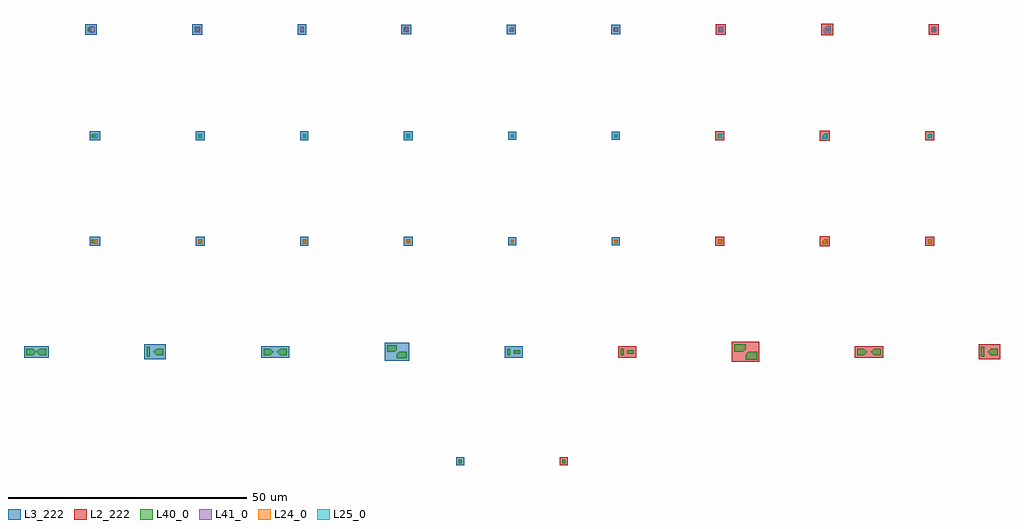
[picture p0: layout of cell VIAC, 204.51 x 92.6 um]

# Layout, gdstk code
from math import pi, radians
import gdstk
lib = gdstk.Library(unit=1e-6, precision=1e-09)
def R(c, l, rs):  # rectangles x0, y0, x1, y1
    for r in rs: c.add(gdstk.rectangle(r[:2], r[2:], *l))
def P(c, l, *ps):  # polygons
    for p in ps: c.add(gdstk.Polygon(p, *l))
L2_222 = (2, 222)
L3_222 = (3, 222)
L24_0 = (24, 0)
L25_0 = (25, 0)
L40_0 = (40, 0)
L41_0 = (41, 0)

compass_layerviac_size0p = lib.new_cell('compass_layerVIAC_size0p7__0p7')
R(compass_layerviac_size0p, L40_0, [(-0.35,-0.35,0.35,0.35)])

rectangle_layerviac_size = lib.new_cell('rectangle_layerVIAC_size0p7__0p7')
rectangle_layerviac_size.add(gdstk.Reference(compass_layerviac_size0p, (0.35,0.35)))

compass_b2efa8bb = lib.new_cell('compass_b2efa8bb')
R(compass_b2efa8bb, L2_222, [(-0.85,-0.85,0.85,0.85)])

rectangle_b2efa8bb = lib.new_cell('rectangle_b2efa8bb')
rectangle_b2efa8bb.add(gdstk.Reference(compass_b2efa8bb, (0.85,0.85)))

pass_fail_mk_ea92c8a5 = lib.new_cell('pass_fail_mk_ea92c8a5')
pass_fail_mk_ea92c8a5.add(gdstk.Reference(rectangle_b2efa8bb, (-0.5,-0.5)))
pass_fail_mk_ea92c8a5.add(gdstk.Label('VIAC.W.1', (-0.25,-0.25), layer=11, texttype=222))

c_compass_layerviac_size0p = lib.new_cell('compass_layerVIAC_size0p69__0p69')
R(c_compass_layerviac_size0p, L40_0, [(-0.345,-0.345,0.345,0.345)])

c_rectangle_layerviac_size = lib.new_cell('rectangle_layerVIAC_size0p69__0p69')
c_rectangle_layerviac_size.add(gdstk.Reference(c_compass_layerviac_size0p, (0.345,0.345)))

compass_bd24d7c0 = lib.new_cell('compass_bd24d7c0')
R(compass_bd24d7c0, L3_222, [(-0.845,-0.845,0.845,0.845)])

rectangle_bd24d7c0 = lib.new_cell('rectangle_bd24d7c0')
rectangle_bd24d7c0.add(gdstk.Reference(compass_bd24d7c0, (0.845,0.845)))

pass_fail_mk_dc1ab9c7 = lib.new_cell('pass_fail_mk_dc1ab9c7')
pass_fail_mk_dc1ab9c7.add(gdstk.Reference(rectangle_bd24d7c0, (-0.5,-0.5)))
pass_fail_mk_dc1ab9c7.add(gdstk.Label('VIAC.W.1', (-0.25,-0.25), layer=11, texttype=222))

size_patterns_width0_7_l = lib.new_cell('size_patterns_width0.7_layerVIAC')
size_patterns_width0_7_l.add(gdstk.Reference(rectangle_layerviac_size, (0,0)))
size_patterns_width0_7_l.add(gdstk.Reference(pass_fail_mk_ea92c8a5, (0,0)))
size_patterns_width0_7_l.add(gdstk.Reference(c_rectangle_layerviac_size, (-21.69,0.005)))
size_patterns_width0_7_l.add(gdstk.Reference(pass_fail_mk_dc1ab9c7, (-21.69,0.005)))

c_compass_layerviac_size0p_ = lib.new_cell('compass_layerVIAC_size0p7__1p4')
R(c_compass_layerviac_size0p_, L40_0, [(-0.35,-0.7,0.35,0.7)])

c_rectangle_layerviac_size_ = lib.new_cell('rectangle_layerVIAC_size0p7__1p4')
c_rectangle_layerviac_size_.add(gdstk.Reference(c_compass_layerviac_size0p_, (0.35,0.7)))

compass_layerviac_size1p = lib.new_cell('compass_layerVIAC_size1p4__0p7')
R(compass_layerviac_size1p, L40_0, [(-0.7,-0.35,0.7,0.35)])

c_rectangle_layerviac_size__ = lib.new_cell('rectangle_layerVIAC_size1p4__0p7')
c_rectangle_layerviac_size__.add(gdstk.Reference(compass_layerviac_size1p, (0.7,0.35)))

space_basic_spacing0_7_l = lib.new_cell('space_basic_spacing0.7_layer1VIAC_layer2VIAC')
space_basic_spacing0_7_l.add(gdstk.Reference(c_rectangle_layerviac_size_, (-0.7,1.05), rotation=pi))
space_basic_spacing0_7_l.add(gdstk.Reference(c_rectangle_layerviac_size__, (0,0)))

compass_77408f74 = lib.new_cell('compass_77408f74')
R(compass_77408f74, L2_222, [(-1.9,-1.2,1.9,1.2)])

rectangle_77408f74 = lib.new_cell('rectangle_77408f74')
rectangle_77408f74.add(gdstk.Reference(compass_77408f74, (1.9,1.2)))

pass_fail_mk_dd86cd32 = lib.new_cell('pass_fail_mk_dd86cd32')
pass_fail_mk_dd86cd32.add(gdstk.Reference(rectangle_77408f74, (-1.9,-0.85)))
pass_fail_mk_dd86cd32.add(gdstk.Label('VIAC.S.1', (-1.65,-0.6), layer=11, texttype=222))

space_basic_spacing0_69_ = lib.new_cell('space_basic_spacing0.69_layer1VIAC_layer2VIAC')
space_basic_spacing0_69_.add(gdstk.Reference(c_rectangle_layerviac_size_, (-0.69,1.05), rotation=pi))
space_basic_spacing0_69_.add(gdstk.Reference(c_rectangle_layerviac_size__, (0,0)))

compass_235e8b68 = lib.new_cell('compass_235e8b68')
R(compass_235e8b68, L3_222, [(-1.895,-1.2,1.895,1.2)])

rectangle_235e8b68 = lib.new_cell('rectangle_235e8b68')
rectangle_235e8b68.add(gdstk.Reference(compass_235e8b68, (1.895,1.2)))

pass_fail_mk_c59dae41 = lib.new_cell('pass_fail_mk_c59dae41')
pass_fail_mk_c59dae41.add(gdstk.Reference(rectangle_235e8b68, (-1.89,-0.85)))
pass_fail_mk_c59dae41.add(gdstk.Label('VIAC.S.1', (-1.64,-0.6), layer=11, texttype=222))

boolean_4434b073 = lib.new_cell('boolean_4434b073')
P(boolean_4434b073, L40_0, [(2.4,1.6),(0.567,1.6),(0,1.032),(0,0),(2.4,0)])

space_45deg_spacing0_799 = lib.new_cell('space_45deg_spacing0.7999999999999999_layer1VIAC_layer2VIAC')
space_45deg_spacing0_799.add(gdstk.Reference(boolean_4434b073, (0,0)))
space_45deg_spacing0_799.add(gdstk.Reference(boolean_4434b073, (0,3.2), rotation=pi))

compass_ca9d0b4a = lib.new_cell('compass_ca9d0b4a')
R(compass_ca9d0b4a, L2_222, [(-2.9,-2.1,2.9,2.1)])

rectangle_ca9d0b4a = lib.new_cell('rectangle_ca9d0b4a')
rectangle_ca9d0b4a.add(gdstk.Reference(compass_ca9d0b4a, (2.9,2.1)))

pass_fail_mk_bf88f0f7 = lib.new_cell('pass_fail_mk_bf88f0f7')
pass_fail_mk_bf88f0f7.add(gdstk.Reference(rectangle_ca9d0b4a, (-2.9,-0.5)))
pass_fail_mk_bf88f0f7.add(gdstk.Label('VIAC.S.1', (-2.65,-0.25), layer=11, texttype=222))

boolean_fdc49324 = lib.new_cell('boolean_fdc49324')
P(boolean_fdc49324, L40_0, [(2.07,1.38),(0.489,1.38),(0,0.891),(0,0),(2.07,0)])

space_45deg_spacing0_69_ = lib.new_cell('space_45deg_spacing0.69_layer1VIAC_layer2VIAC')
space_45deg_spacing0_69_.add(gdstk.Reference(boolean_fdc49324, (0,0)))
space_45deg_spacing0_69_.add(gdstk.Reference(boolean_fdc49324, (0,2.76), rotation=pi))

compass_da3c626a = lib.new_cell('compass_da3c626a')
R(compass_da3c626a, L3_222, [(-2.57,-1.88,2.57,1.88)])

rectangle_da3c626a = lib.new_cell('rectangle_da3c626a')
rectangle_da3c626a.add(gdstk.Reference(compass_da3c626a, (2.57,1.88)))

pass_fail_mk_96e4fcd8 = lib.new_cell('pass_fail_mk_96e4fcd8')
pass_fail_mk_96e4fcd8.add(gdstk.Reference(rectangle_da3c626a, (-2.57,-0.5)))
pass_fail_mk_96e4fcd8.add(gdstk.Label('VIAC.S.1', (-2.32,-0.25), layer=11, texttype=222))

boolean_fcddbcaa = lib.new_cell('boolean_fcddbcaa')
P(boolean_fcddbcaa, L40_0, [(0,0),(1.4,0),(1.4,1.4),(0,1.4),(-0.7,0.7)])

boolean_cd065b2d = lib.new_cell('boolean_cd065b2d')
P(boolean_cd065b2d, L40_0, [(1.4,1.4),(0,1.4),(-0.7,0.7),(0,0),(1.4,0)])

space_cor2cor_spacing0_7 = lib.new_cell('space_cor2cor_spacing0.7_layer1VIAC_layer2VIAC')
space_cor2cor_spacing0_7.add(gdstk.Reference(boolean_fcddbcaa, (0,0)))
space_cor2cor_spacing0_7.add(gdstk.Reference(boolean_cd065b2d, (-2.1,1.4), rotation=pi))

compass_ff052847 = lib.new_cell('compass_ff052847')
R(compass_ff052847, L2_222, [(-2.95,-1.2,2.95,1.2)])

rectangle_ff052847 = lib.new_cell('rectangle_ff052847')
rectangle_ff052847.add(gdstk.Reference(compass_ff052847, (2.95,1.2)))

pass_fail_mk_ab782b63 = lib.new_cell('pass_fail_mk_ab782b63')
pass_fail_mk_ab782b63.add(gdstk.Reference(rectangle_ff052847, (-4,-0.5)))
pass_fail_mk_ab782b63.add(gdstk.Label('VIAC.S.1', (-3.75,-0.25), layer=11, texttype=222))

space_cor2cor_spacing0_6 = lib.new_cell('space_cor2cor_spacing0.69_layer1VIAC_layer2VIAC')
space_cor2cor_spacing0_6.add(gdstk.Reference(boolean_fcddbcaa, (0,0)))
space_cor2cor_spacing0_6.add(gdstk.Reference(boolean_cd065b2d, (-2.09,1.4), rotation=pi))

compass_60b5a301 = lib.new_cell('compass_60b5a301')
R(compass_60b5a301, L3_222, [(-2.945,-1.2,2.945,1.2)])

rectangle_60b5a301 = lib.new_cell('rectangle_60b5a301')
rectangle_60b5a301.add(gdstk.Reference(compass_60b5a301, (2.945,1.2)))

pass_fail_mk_47525627 = lib.new_cell('pass_fail_mk_47525627')
pass_fail_mk_47525627.add(gdstk.Reference(rectangle_60b5a301, (-3.99,-0.5)))
pass_fail_mk_47525627.add(gdstk.Label('VIAC.S.1', (-3.74,-0.25), layer=11, texttype=222))

c_compass_layerviac_size0p__ = lib.new_cell('compass_layerVIAC_size0p7__2p1')
R(c_compass_layerviac_size0p__, L40_0, [(-0.35,-1.05,0.35,1.05)])

c_rectangle_layerviac_size___ = lib.new_cell('rectangle_layerVIAC_size0p7__2p1')
c_rectangle_layerviac_size___.add(gdstk.Reference(c_compass_layerviac_size0p__, (0.35,1.05)))

space_cor2edge_spacing0_ = lib.new_cell('space_cor2edge_spacing0.7_layer1VIAC_layer2VIAC')
space_cor2edge_spacing0_.add(gdstk.Reference(c_rectangle_layerviac_size___, (-2.1,-0.35)))
space_cor2edge_spacing0_.add(gdstk.Reference(boolean_fcddbcaa, (0,0)))

compass_0f98536f = lib.new_cell('compass_0f98536f')
R(compass_0f98536f, L2_222, [(-2.25,-1.55,2.25,1.55)])

rectangle_0f98536f = lib.new_cell('rectangle_0f98536f')
rectangle_0f98536f.add(gdstk.Reference(compass_0f98536f, (2.25,1.55)))

pass_fail_mk_5ab4fc28 = lib.new_cell('pass_fail_mk_5ab4fc28')
pass_fail_mk_5ab4fc28.add(gdstk.Reference(rectangle_0f98536f, (-2.6,-0.85)))
pass_fail_mk_5ab4fc28.add(gdstk.Label('VIAC.S.1', (-2.35,-0.6), layer=11, texttype=222))

c_space_cor2edge_spacing0_ = lib.new_cell('space_cor2edge_spacing0.69_layer1VIAC_layer2VIAC')
c_space_cor2edge_spacing0_.add(gdstk.Reference(c_rectangle_layerviac_size___, (-2.09,-0.35)))
c_space_cor2edge_spacing0_.add(gdstk.Reference(boolean_fcddbcaa, (0,0)))

compass_382587ec = lib.new_cell('compass_382587ec')
R(compass_382587ec, L3_222, [(-2.245,-1.55,2.245,1.55)])

rectangle_382587ec = lib.new_cell('rectangle_382587ec')
rectangle_382587ec.add(gdstk.Reference(compass_382587ec, (2.245,1.55)))

pass_fail_mk_efa87f06 = lib.new_cell('pass_fail_mk_efa87f06')
pass_fail_mk_efa87f06.add(gdstk.Reference(rectangle_382587ec, (-2.59,-0.85)))
pass_fail_mk_efa87f06.add(gdstk.Label('VIAC.S.1', (-2.34,-0.6), layer=11, texttype=222))

space_singular_layer1via = lib.new_cell('space_singular_layer1VIAC_layer2VIAC')
space_singular_layer1via.add(gdstk.Reference(boolean_fcddbcaa, (0,0)))
space_singular_layer1via.add(gdstk.Reference(boolean_fcddbcaa, (-1.4,1.4), rotation=pi))

compass_ae880962 = lib.new_cell('compass_ae880962')
R(compass_ae880962, L3_222, [(-2.6,-1.2,2.6,1.2)])

rectangle_ae880962 = lib.new_cell('rectangle_ae880962')
rectangle_ae880962.add(gdstk.Reference(compass_ae880962, (2.6,1.2)))

pass_fail_mk_72ef4cd8 = lib.new_cell('pass_fail_mk_72ef4cd8')
pass_fail_mk_72ef4cd8.add(gdstk.Reference(rectangle_ae880962, (-3.3,-0.5)))
pass_fail_mk_72ef4cd8.add(gdstk.Label('VIAC.S.1', (-3.05,-0.25), layer=11, texttype=222))

space_patterns_width0_7_ = lib.new_cell('space_patterns_width0.7_layer1VIAC_layer2VIAC')
space_patterns_width0_7_.add(gdstk.Reference(space_basic_spacing0_7_l, (0,0)))
space_patterns_width0_7_.add(gdstk.Reference(pass_fail_mk_dd86cd32, (0,0)))
space_patterns_width0_7_.add(gdstk.Reference(space_basic_spacing0_69_, (-23.8,0)))
space_patterns_width0_7_.add(gdstk.Reference(pass_fail_mk_c59dae41, (-23.8,0)))
space_patterns_width0_7_.add(gdstk.Reference(space_45deg_spacing0_799, (24.8,-1.25)))
space_patterns_width0_7_.add(gdstk.Reference(pass_fail_mk_bf88f0f7, (24.8,-1.25)))
space_patterns_width0_7_.add(gdstk.Reference(space_45deg_spacing0_69_, (-48.26,-1.03)))
space_patterns_width0_7_.add(gdstk.Reference(pass_fail_mk_96e4fcd8, (-48.26,-1.03)))
space_patterns_width0_7_.add(gdstk.Reference(space_cor2cor_spacing0_7, (51.7,-0.35)))
space_patterns_width0_7_.add(gdstk.Reference(pass_fail_mk_ab782b63, (51.7,-0.35)))
space_patterns_width0_7_.add(gdstk.Reference(space_cor2cor_spacing0_6, (-72.73,-0.35)))
space_patterns_width0_7_.add(gdstk.Reference(pass_fail_mk_47525627, (-72.73,-0.35)))
space_patterns_width0_7_.add(gdstk.Reference(space_cor2edge_spacing0_, (76.2,-0.35)))
space_patterns_width0_7_.add(gdstk.Reference(pass_fail_mk_5ab4fc28, (76.2,-0.35)))
space_patterns_width0_7_.add(gdstk.Reference(c_space_cor2edge_spacing0_, (-98.62,-0.35)))
space_patterns_width0_7_.add(gdstk.Reference(pass_fail_mk_efa87f06, (-98.62,-0.35)))
space_patterns_width0_7_.add(gdstk.Reference(space_singular_layer1via, (-123.11,-0.35)))
space_patterns_width0_7_.add(gdstk.Reference(pass_fail_mk_72ef4cd8, (-123.11,-0.35)))

compass_layernpp_size0p9 = lib.new_cell('compass_layerNPP_size0p9__0p9')
R(compass_layernpp_size0p9, L24_0, [(-0.45,-0.45,0.45,0.45)])

rectangle_layernpp_size0 = lib.new_cell('rectangle_layerNPP_size0p9__0p9')
rectangle_layernpp_size0.add(gdstk.Reference(compass_layernpp_size0p9, (0.45,0.45)))

enclose_basic_enc0_1_wid = lib.new_cell('enclose_basic_enc0.1_width0.7_layer_VIAC_enc_layerNPP')
enclose_basic_enc0_1_wid.add(gdstk.Reference(rectangle_layerviac_size, (0,0)))
enclose_basic_enc0_1_wid.add(gdstk.Reference(rectangle_layernpp_size0, (-0.1,-0.1)))

compass_8c9a630a = lib.new_cell('compass_8c9a630a')
R(compass_8c9a630a, L2_222, [(-0.95,-0.95,0.95,0.95)])

rectangle_8c9a630a = lib.new_cell('rectangle_8c9a630a')
rectangle_8c9a630a.add(gdstk.Reference(compass_8c9a630a, (0.95,0.95)))

pass_fail_mk_4532a0d8 = lib.new_cell('pass_fail_mk_4532a0d8')
pass_fail_mk_4532a0d8.add(gdstk.Reference(rectangle_8c9a630a, (-0.6,-0.6)))
pass_fail_mk_4532a0d8.add(gdstk.Label('VIAC.EN.1', (-0.35,-0.35), layer=11, texttype=222))

compass_layernpp_size0p7 = lib.new_cell('compass_layerNPP_size0p7__0p7')
R(compass_layernpp_size0p7, L24_0, [(-0.35,-0.35,0.35,0.35)])

c_rectangle_layernpp_size0 = lib.new_cell('rectangle_layerNPP_size0p7__0p7')
c_rectangle_layernpp_size0.add(gdstk.Reference(compass_layernpp_size0p7, (0.35,0.35)))

enclose_basic_enc0_0_wid = lib.new_cell('enclose_basic_enc0.0_width0.7_layer_VIAC_enc_layerNPP')
enclose_basic_enc0_0_wid.add(gdstk.Reference(rectangle_layerviac_size, (0,0)))
enclose_basic_enc0_0_wid.add(gdstk.Reference(c_rectangle_layernpp_size0, (0,0)))

compass_ba3c35e6 = lib.new_cell('compass_ba3c35e6')
R(compass_ba3c35e6, L3_222, [(-0.85,-0.85,0.85,0.85)])

rectangle_ba3c35e6 = lib.new_cell('rectangle_ba3c35e6')
rectangle_ba3c35e6.add(gdstk.Reference(compass_ba3c35e6, (0.85,0.85)))

pass_fail_mk_e88787c3 = lib.new_cell('pass_fail_mk_e88787c3')
pass_fail_mk_e88787c3.add(gdstk.Reference(rectangle_ba3c35e6, (-0.5,-0.5)))
pass_fail_mk_e88787c3.add(gdstk.Label('VIAC.EN.1', (-0.25,-0.25), layer=11, texttype=222))

boolean_18af2746 = lib.new_cell('boolean_18af2746')
P(boolean_18af2746, L40_0, [(0.7,0.7),(0.248,0.7),(0,0.452),(0,0),(0.7,0)])

boolean_c79b226c = lib.new_cell('boolean_c79b226c')
P(boolean_c79b226c, L24_0, [(0.9,0.9),(0.279,0.9),(-0.2,0.421),(-0.2,-0.2),(0.9,-0.2)])

enclose_45deg_enc0_2_wid = lib.new_cell('enclose_45deg_enc0.2_width0.7_layer_VIAC_enc_layerNPP')
enclose_45deg_enc0_2_wid.add(gdstk.Reference(boolean_18af2746, (0,0)))
enclose_45deg_enc0_2_wid.add(gdstk.Reference(boolean_c79b226c, (0,0)))

compass_4d9544ad = lib.new_cell('compass_4d9544ad')
R(compass_4d9544ad, L2_222, [(-1.05,-1.05,1.05,1.05)])

rectangle_4d9544ad = lib.new_cell('rectangle_4d9544ad')
rectangle_4d9544ad.add(gdstk.Reference(compass_4d9544ad, (1.05,1.05)))

pass_fail_mk_916f7346 = lib.new_cell('pass_fail_mk_916f7346')
pass_fail_mk_916f7346.add(gdstk.Reference(rectangle_4d9544ad, (-0.7,-0.7)))
pass_fail_mk_916f7346.add(gdstk.Label('VIAC.EN.1', (-0.45,-0.45), layer=11, texttype=222))

boolean_17151396 = lib.new_cell('boolean_17151396')
P(boolean_17151396, L24_0, [(0.7,0.7),(0.35,0.7),(0,0.35),(0,0),(0.7,0)])

enclose_45deg_enc0_0_wid = lib.new_cell('enclose_45deg_enc0.0_width0.7_layer_VIAC_enc_layerNPP')
enclose_45deg_enc0_0_wid.add(gdstk.Reference(boolean_18af2746, (0,0)))
enclose_45deg_enc0_0_wid.add(gdstk.Reference(boolean_17151396, (0,0)))

pass_fail_mk_19779c80 = lib.new_cell('pass_fail_mk_19779c80')
pass_fail_mk_19779c80.add(gdstk.Reference(rectangle_ba3c35e6, (-0.5,-0.5)))
pass_fail_mk_19779c80.add(gdstk.Label('VIAC.EN.1', (-0.25,-0.25), layer=11, texttype=222))

boolean_53ca7705 = lib.new_cell('boolean_53ca7705')
P(boolean_53ca7705, L24_0, [(0.8,0.8),(-0.042,0.8),(-0.1,0.742),(-0.1,-0.1),(0.8,-0.1)])

enclose_cor2edge_enc0_1_ = lib.new_cell('enclose_cor2edge_enc0.1_width0.7_layer_VIAC_enc_layerNPP')
enclose_cor2edge_enc0_1_.add(gdstk.Reference(rectangle_layerviac_size, (0,0)))
enclose_cor2edge_enc0_1_.add(gdstk.Reference(boolean_53ca7705, (0,0)))

pass_fail_mk_894f0832 = lib.new_cell('pass_fail_mk_894f0832')
pass_fail_mk_894f0832.add(gdstk.Reference(rectangle_8c9a630a, (-0.6,-0.6)))
pass_fail_mk_894f0832.add(gdstk.Label('VIAC.EN.1', (-0.35,-0.35), layer=11, texttype=222))

boolean_a0e5ba18 = lib.new_cell('boolean_a0e5ba18')
P(boolean_a0e5ba18, L24_0, [(0.79,0.79),(-0.038,0.79),(-0.09,0.738),(-0.09,-0.09),(0.79,-0.09)])

enclose_cor2edge_enc0_09 = lib.new_cell('enclose_cor2edge_enc0.09000000000000001_width0.7_layer_VIAC_enc_layerNPP')
enclose_cor2edge_enc0_09.add(gdstk.Reference(rectangle_layerviac_size, (0,0)))
enclose_cor2edge_enc0_09.add(gdstk.Reference(boolean_a0e5ba18, (0,0)))

compass_d79c37dd = lib.new_cell('compass_d79c37dd')
R(compass_d79c37dd, L3_222, [(-0.94,-0.94,0.94,0.94)])

rectangle_d79c37dd = lib.new_cell('rectangle_d79c37dd')
rectangle_d79c37dd.add(gdstk.Reference(compass_d79c37dd, (0.94,0.94)))

pass_fail_mk_306d3895 = lib.new_cell('pass_fail_mk_306d3895')
pass_fail_mk_306d3895.add(gdstk.Reference(rectangle_d79c37dd, (-0.59,-0.59)))
pass_fail_mk_306d3895.add(gdstk.Label('VIAC.EN.1', (-0.34,-0.34), layer=11, texttype=222))

c_compass_layernpp_size0p7 = lib.new_cell('compass_layerNPP_size0p7__0p9')
R(c_compass_layernpp_size0p7, L24_0, [(-0.35,-0.45,0.35,0.45)])

c_rectangle_layernpp_size0_ = lib.new_cell('rectangle_layerNPP_size0p7__0p9')
c_rectangle_layernpp_size0_.add(gdstk.Reference(c_compass_layernpp_size0p7, (0.35,0.45)))

enclose_touch_enc0_1_wid = lib.new_cell('enclose_touch_enc0.1_width0.7_layer_VIAC_enc_layerNPP')
enclose_touch_enc0_1_wid.add(gdstk.Reference(rectangle_layerviac_size, (0,0)))
enclose_touch_enc0_1_wid.add(gdstk.Reference(c_rectangle_layernpp_size0_, (0,-0.1)))

compass_397e88b9 = lib.new_cell('compass_397e88b9')
R(compass_397e88b9, L3_222, [(-0.85,-0.95,0.85,0.95)])

rectangle_397e88b9 = lib.new_cell('rectangle_397e88b9')
rectangle_397e88b9.add(gdstk.Reference(compass_397e88b9, (0.85,0.95)))

pass_fail_mk_afd7809b = lib.new_cell('pass_fail_mk_afd7809b')
pass_fail_mk_afd7809b.add(gdstk.Reference(rectangle_397e88b9, (-0.5,-0.6)))
pass_fail_mk_afd7809b.add(gdstk.Label('VIAC.EN.1', (-0.25,-0.35), layer=11, texttype=222))

boolean_851f2239 = lib.new_cell('boolean_851f2239')
P(boolean_851f2239, L24_0, [(0.8,0.8),(-0.1,0.8),(-0.1,0.088),(0.088,0.088),(0.088,0.612),(0.612,0.612),(0.612,0.088),(0.088,0.088),(-0.1,0.088),(-0.1,-0.1),(0.8,-0.1)])

enclose_hole_enc0_1_widt = lib.new_cell('enclose_hole_enc0.1_width0.7_layer_VIAC_enc_layerNPP')
enclose_hole_enc0_1_widt.add(gdstk.Reference(rectangle_layerviac_size, (0,0)))
enclose_hole_enc0_1_widt.add(gdstk.Reference(boolean_851f2239, (0,0)))

compass_35335814 = lib.new_cell('compass_35335814')
R(compass_35335814, L3_222, [(-0.95,-0.95,0.95,0.95)])

rectangle_35335814 = lib.new_cell('rectangle_35335814')
rectangle_35335814.add(gdstk.Reference(compass_35335814, (0.95,0.95)))

pass_fail_mk_86401913 = lib.new_cell('pass_fail_mk_86401913')
pass_fail_mk_86401913.add(gdstk.Reference(rectangle_35335814, (-0.6,-0.6)))
pass_fail_mk_86401913.add(gdstk.Label('VIAC.EN.1', (-0.35,-0.35), layer=11, texttype=222))

enclose_intersect_enc0_1 = lib.new_cell('enclose_intersect_enc0.1_width0.7_layer_VIAC_enc_layerNPP')
enclose_intersect_enc0_1.add(gdstk.Reference(rectangle_layerviac_size, (-0.45,0)))
enclose_intersect_enc0_1.add(gdstk.Reference(rectangle_layernpp_size0, (-0.1,-0.1)))

compass_e21da134 = lib.new_cell('compass_e21da134')
R(compass_e21da134, L3_222, [(-1.125,-0.95,1.125,0.95)])

rectangle_e21da134 = lib.new_cell('rectangle_e21da134')
rectangle_e21da134.add(gdstk.Reference(compass_e21da134, (1.125,0.95)))

pass_fail_mk_f982ac01 = lib.new_cell('pass_fail_mk_f982ac01')
pass_fail_mk_f982ac01.add(gdstk.Reference(rectangle_e21da134, (-0.95,-0.6)))
pass_fail_mk_f982ac01.add(gdstk.Label('VIAC.EN.1', (-0.7,-0.35), layer=11, texttype=222))

enclose_patterns_enclosu = lib.new_cell('enclose_patterns_enclosure0.1_width0.7_layerVIAC_enc_layerNPP')
enclose_patterns_enclosu.add(gdstk.Reference(enclose_basic_enc0_1_wid, (0,0)))
enclose_patterns_enclosu.add(gdstk.Reference(pass_fail_mk_4532a0d8, (0,0)))
enclose_patterns_enclosu.add(gdstk.Reference(enclose_basic_enc0_0_wid, (-21.8,0)))
enclose_patterns_enclosu.add(gdstk.Reference(pass_fail_mk_e88787c3, (-21.8,0)))
enclose_patterns_enclosu.add(gdstk.Reference(enclose_45deg_enc0_2_wid, (22,0)))
enclose_patterns_enclosu.add(gdstk.Reference(pass_fail_mk_916f7346, (22,0)))
enclose_patterns_enclosu.add(gdstk.Reference(enclose_45deg_enc0_0_wid, (-43.5,0)))
enclose_patterns_enclosu.add(gdstk.Reference(pass_fail_mk_19779c80, (-43.5,0)))
enclose_patterns_enclosu.add(gdstk.Reference(enclose_cor2edge_enc0_1_, (44,0)))
enclose_patterns_enclosu.add(gdstk.Reference(pass_fail_mk_894f0832, (44,0)))
enclose_patterns_enclosu.add(gdstk.Reference(enclose_cor2edge_enc0_09, (-65.29,0)))
enclose_patterns_enclosu.add(gdstk.Reference(pass_fail_mk_306d3895, (-65.29,0)))
enclose_patterns_enclosu.add(gdstk.Reference(enclose_touch_enc0_1_wid, (-87.08,0)))
enclose_patterns_enclosu.add(gdstk.Reference(pass_fail_mk_afd7809b, (-87.08,0)))
enclose_patterns_enclosu.add(gdstk.Reference(enclose_hole_enc0_1_widt, (-108.88,0)))
enclose_patterns_enclosu.add(gdstk.Reference(pass_fail_mk_86401913, (-108.88,0)))
enclose_patterns_enclosu.add(gdstk.Reference(enclose_intersect_enc0_1, (-130.78,0)))
enclose_patterns_enclosu.add(gdstk.Reference(pass_fail_mk_f982ac01, (-130.78,0)))

compass_layerppp_size0p9 = lib.new_cell('compass_layerPPP_size0p9__0p9')
R(compass_layerppp_size0p9, L25_0, [(-0.45,-0.45,0.45,0.45)])

rectangle_layerppp_size0 = lib.new_cell('rectangle_layerPPP_size0p9__0p9')
rectangle_layerppp_size0.add(gdstk.Reference(compass_layerppp_size0p9, (0.45,0.45)))

c_enclose_basic_enc0_1_wid = lib.new_cell('enclose_basic_enc0.1_width0.7_layer_VIAC_enc_layerPPP')
c_enclose_basic_enc0_1_wid.add(gdstk.Reference(rectangle_layerviac_size, (0,0)))
c_enclose_basic_enc0_1_wid.add(gdstk.Reference(rectangle_layerppp_size0, (-0.1,-0.1)))

pass_fail_mk_4c75d2a4 = lib.new_cell('pass_fail_mk_4c75d2a4')
pass_fail_mk_4c75d2a4.add(gdstk.Reference(rectangle_8c9a630a, (-0.6,-0.6)))
pass_fail_mk_4c75d2a4.add(gdstk.Label('VIAC.EN.2', (-0.35,-0.35), layer=11, texttype=222))

compass_layerppp_size0p7 = lib.new_cell('compass_layerPPP_size0p7__0p7')
R(compass_layerppp_size0p7, L25_0, [(-0.35,-0.35,0.35,0.35)])

c_rectangle_layerppp_size0 = lib.new_cell('rectangle_layerPPP_size0p7__0p7')
c_rectangle_layerppp_size0.add(gdstk.Reference(compass_layerppp_size0p7, (0.35,0.35)))

c_enclose_basic_enc0_0_wid = lib.new_cell('enclose_basic_enc0.0_width0.7_layer_VIAC_enc_layerPPP')
c_enclose_basic_enc0_0_wid.add(gdstk.Reference(rectangle_layerviac_size, (0,0)))
c_enclose_basic_enc0_0_wid.add(gdstk.Reference(c_rectangle_layerppp_size0, (0,0)))

pass_fail_mk_ec33d206 = lib.new_cell('pass_fail_mk_ec33d206')
pass_fail_mk_ec33d206.add(gdstk.Reference(rectangle_ba3c35e6, (-0.5,-0.5)))
pass_fail_mk_ec33d206.add(gdstk.Label('VIAC.EN.2', (-0.25,-0.25), layer=11, texttype=222))

boolean_ab3f3a0e = lib.new_cell('boolean_ab3f3a0e')
P(boolean_ab3f3a0e, L25_0, [(0.9,0.9),(0.279,0.9),(-0.2,0.421),(-0.2,-0.2),(0.9,-0.2)])

c_enclose_45deg_enc0_2_wid = lib.new_cell('enclose_45deg_enc0.2_width0.7_layer_VIAC_enc_layerPPP')
c_enclose_45deg_enc0_2_wid.add(gdstk.Reference(boolean_18af2746, (0,0)))
c_enclose_45deg_enc0_2_wid.add(gdstk.Reference(boolean_ab3f3a0e, (0,0)))

pass_fail_mk_910927cd = lib.new_cell('pass_fail_mk_910927cd')
pass_fail_mk_910927cd.add(gdstk.Reference(rectangle_4d9544ad, (-0.7,-0.7)))
pass_fail_mk_910927cd.add(gdstk.Label('VIAC.EN.2', (-0.45,-0.45), layer=11, texttype=222))

boolean_c4b50b38 = lib.new_cell('boolean_c4b50b38')
P(boolean_c4b50b38, L25_0, [(0.7,0.7),(0.35,0.7),(0,0.35),(0,0),(0.7,0)])

c_enclose_45deg_enc0_0_wid = lib.new_cell('enclose_45deg_enc0.0_width0.7_layer_VIAC_enc_layerPPP')
c_enclose_45deg_enc0_0_wid.add(gdstk.Reference(boolean_18af2746, (0,0)))
c_enclose_45deg_enc0_0_wid.add(gdstk.Reference(boolean_c4b50b38, (0,0)))

pass_fail_mk_470c316a = lib.new_cell('pass_fail_mk_470c316a')
pass_fail_mk_470c316a.add(gdstk.Reference(rectangle_ba3c35e6, (-0.5,-0.5)))
pass_fail_mk_470c316a.add(gdstk.Label('VIAC.EN.2', (-0.25,-0.25), layer=11, texttype=222))

boolean_ecf870e7 = lib.new_cell('boolean_ecf870e7')
P(boolean_ecf870e7, L25_0, [(0.8,0.8),(-0.042,0.8),(-0.1,0.742),(-0.1,-0.1),(0.8,-0.1)])

c_enclose_cor2edge_enc0_1_ = lib.new_cell('enclose_cor2edge_enc0.1_width0.7_layer_VIAC_enc_layerPPP')
c_enclose_cor2edge_enc0_1_.add(gdstk.Reference(rectangle_layerviac_size, (0,0)))
c_enclose_cor2edge_enc0_1_.add(gdstk.Reference(boolean_ecf870e7, (0,0)))

pass_fail_mk_1a4752a9 = lib.new_cell('pass_fail_mk_1a4752a9')
pass_fail_mk_1a4752a9.add(gdstk.Reference(rectangle_8c9a630a, (-0.6,-0.6)))
pass_fail_mk_1a4752a9.add(gdstk.Label('VIAC.EN.2', (-0.35,-0.35), layer=11, texttype=222))

boolean_dd6e0e84 = lib.new_cell('boolean_dd6e0e84')
P(boolean_dd6e0e84, L25_0, [(0.79,0.79),(-0.038,0.79),(-0.09,0.738),(-0.09,-0.09),(0.79,-0.09)])

c_enclose_cor2edge_enc0_09 = lib.new_cell('enclose_cor2edge_enc0.09000000000000001_width0.7_layer_VIAC_enc_layerPPP')
c_enclose_cor2edge_enc0_09.add(gdstk.Reference(rectangle_layerviac_size, (0,0)))
c_enclose_cor2edge_enc0_09.add(gdstk.Reference(boolean_dd6e0e84, (0,0)))

pass_fail_mk_7568e707 = lib.new_cell('pass_fail_mk_7568e707')
pass_fail_mk_7568e707.add(gdstk.Reference(rectangle_d79c37dd, (-0.59,-0.59)))
pass_fail_mk_7568e707.add(gdstk.Label('VIAC.EN.2', (-0.34,-0.34), layer=11, texttype=222))

c_compass_layerppp_size0p7 = lib.new_cell('compass_layerPPP_size0p7__0p9')
R(c_compass_layerppp_size0p7, L25_0, [(-0.35,-0.45,0.35,0.45)])

c_rectangle_layerppp_size0_ = lib.new_cell('rectangle_layerPPP_size0p7__0p9')
c_rectangle_layerppp_size0_.add(gdstk.Reference(c_compass_layerppp_size0p7, (0.35,0.45)))

c_enclose_touch_enc0_1_wid = lib.new_cell('enclose_touch_enc0.1_width0.7_layer_VIAC_enc_layerPPP')
c_enclose_touch_enc0_1_wid.add(gdstk.Reference(rectangle_layerviac_size, (0,0)))
c_enclose_touch_enc0_1_wid.add(gdstk.Reference(c_rectangle_layerppp_size0_, (0,-0.1)))

pass_fail_mk_c6178739 = lib.new_cell('pass_fail_mk_c6178739')
pass_fail_mk_c6178739.add(gdstk.Reference(rectangle_397e88b9, (-0.5,-0.6)))
pass_fail_mk_c6178739.add(gdstk.Label('VIAC.EN.2', (-0.25,-0.35), layer=11, texttype=222))

boolean_456507a8 = lib.new_cell('boolean_456507a8')
P(boolean_456507a8, L25_0, [(0.8,0.8),(-0.1,0.8),(-0.1,0.088),(0.088,0.088),(0.088,0.612),(0.612,0.612),(0.612,0.088),(0.088,0.088),(-0.1,0.088),(-0.1,-0.1),(0.8,-0.1)])

c_enclose_hole_enc0_1_widt = lib.new_cell('enclose_hole_enc0.1_width0.7_layer_VIAC_enc_layerPPP')
c_enclose_hole_enc0_1_widt.add(gdstk.Reference(rectangle_layerviac_size, (0,0)))
c_enclose_hole_enc0_1_widt.add(gdstk.Reference(boolean_456507a8, (0,0)))

pass_fail_mk_e467e02f = lib.new_cell('pass_fail_mk_e467e02f')
pass_fail_mk_e467e02f.add(gdstk.Reference(rectangle_35335814, (-0.6,-0.6)))
pass_fail_mk_e467e02f.add(gdstk.Label('VIAC.EN.2', (-0.35,-0.35), layer=11, texttype=222))

c_enclose_intersect_enc0_1 = lib.new_cell('enclose_intersect_enc0.1_width0.7_layer_VIAC_enc_layerPPP')
c_enclose_intersect_enc0_1.add(gdstk.Reference(rectangle_layerviac_size, (-0.45,0)))
c_enclose_intersect_enc0_1.add(gdstk.Reference(rectangle_layerppp_size0, (-0.1,-0.1)))

pass_fail_mk_a0ed5f03 = lib.new_cell('pass_fail_mk_a0ed5f03')
pass_fail_mk_a0ed5f03.add(gdstk.Reference(rectangle_e21da134, (-0.95,-0.6)))
pass_fail_mk_a0ed5f03.add(gdstk.Label('VIAC.EN.2', (-0.7,-0.35), layer=11, texttype=222))

c_enclose_patterns_enclosu = lib.new_cell('enclose_patterns_enclosure0.1_width0.7_layerVIAC_enc_layerPPP')
c_enclose_patterns_enclosu.add(gdstk.Reference(c_enclose_basic_enc0_1_wid, (0,0)))
c_enclose_patterns_enclosu.add(gdstk.Reference(pass_fail_mk_4c75d2a4, (0,0)))
c_enclose_patterns_enclosu.add(gdstk.Reference(c_enclose_basic_enc0_0_wid, (-21.8,0)))
c_enclose_patterns_enclosu.add(gdstk.Reference(pass_fail_mk_ec33d206, (-21.8,0)))
c_enclose_patterns_enclosu.add(gdstk.Reference(c_enclose_45deg_enc0_2_wid, (22,0)))
c_enclose_patterns_enclosu.add(gdstk.Reference(pass_fail_mk_910927cd, (22,0)))
c_enclose_patterns_enclosu.add(gdstk.Reference(c_enclose_45deg_enc0_0_wid, (-43.5,0)))
c_enclose_patterns_enclosu.add(gdstk.Reference(pass_fail_mk_470c316a, (-43.5,0)))
c_enclose_patterns_enclosu.add(gdstk.Reference(c_enclose_cor2edge_enc0_1_, (44,0)))
c_enclose_patterns_enclosu.add(gdstk.Reference(pass_fail_mk_1a4752a9, (44,0)))
c_enclose_patterns_enclosu.add(gdstk.Reference(c_enclose_cor2edge_enc0_09, (-65.29,0)))
c_enclose_patterns_enclosu.add(gdstk.Reference(pass_fail_mk_7568e707, (-65.29,0)))
c_enclose_patterns_enclosu.add(gdstk.Reference(c_enclose_touch_enc0_1_wid, (-87.08,0)))
c_enclose_patterns_enclosu.add(gdstk.Reference(pass_fail_mk_c6178739, (-87.08,0)))
c_enclose_patterns_enclosu.add(gdstk.Reference(c_enclose_hole_enc0_1_widt, (-108.88,0)))
c_enclose_patterns_enclosu.add(gdstk.Reference(pass_fail_mk_e467e02f, (-108.88,0)))
c_enclose_patterns_enclosu.add(gdstk.Reference(c_enclose_intersect_enc0_1, (-130.78,0)))
c_enclose_patterns_enclosu.add(gdstk.Reference(pass_fail_mk_a0ed5f03, (-130.78,0)))

compass_layerm1_size1p1_ = lib.new_cell('compass_layerM1_size1p1__1p1')
R(compass_layerm1_size1p1_, L41_0, [(-0.55,-0.55,0.55,0.55)])

rectangle_layerm1_size1p = lib.new_cell('rectangle_layerM1_size1p1__1p1')
rectangle_layerm1_size1p.add(gdstk.Reference(compass_layerm1_size1p1_, (0.55,0.55)))

enclose_basic_enc0_2_wid = lib.new_cell('enclose_basic_enc0.2_width0.7_layer_VIAC_enc_layerM1')
enclose_basic_enc0_2_wid.add(gdstk.Reference(rectangle_layerviac_size, (0,0)))
enclose_basic_enc0_2_wid.add(gdstk.Reference(rectangle_layerm1_size1p, (-0.2,-0.2)))

pass_fail_mk_eda5517f = lib.new_cell('pass_fail_mk_eda5517f')
pass_fail_mk_eda5517f.add(gdstk.Reference(rectangle_4d9544ad, (-0.7,-0.7)))
pass_fail_mk_eda5517f.add(gdstk.Label('VIAC.EN.3', (-0.45,-0.45), layer=11, texttype=222))

compass_layerm1_size0p9_ = lib.new_cell('compass_layerM1_size0p9__0p9')
R(compass_layerm1_size0p9_, L41_0, [(-0.45,-0.45,0.45,0.45)])

rectangle_layerm1_size0p = lib.new_cell('rectangle_layerM1_size0p9__0p9')
rectangle_layerm1_size0p.add(gdstk.Reference(compass_layerm1_size0p9_, (0.45,0.45)))

c_enclose_basic_enc0_1_wid_ = lib.new_cell('enclose_basic_enc0.1_width0.7_layer_VIAC_enc_layerM1')
c_enclose_basic_enc0_1_wid_.add(gdstk.Reference(rectangle_layerviac_size, (0,0)))
c_enclose_basic_enc0_1_wid_.add(gdstk.Reference(rectangle_layerm1_size0p, (-0.1,-0.1)))

pass_fail_mk_3ed23ae4 = lib.new_cell('pass_fail_mk_3ed23ae4')
pass_fail_mk_3ed23ae4.add(gdstk.Reference(rectangle_35335814, (-0.6,-0.6)))
pass_fail_mk_3ed23ae4.add(gdstk.Label('VIAC.EN.3', (-0.35,-0.35), layer=11, texttype=222))

boolean_04932b49 = lib.new_cell('boolean_04932b49')
P(boolean_04932b49, L41_0, [(1.1,1.1),(0.209,1.1),(-0.4,0.491),(-0.4,-0.4),(1.1,-0.4)])

enclose_45deg_enc0_4_wid = lib.new_cell('enclose_45deg_enc0.4_width0.7_layer_VIAC_enc_layerM1')
enclose_45deg_enc0_4_wid.add(gdstk.Reference(boolean_18af2746, (0,0)))
enclose_45deg_enc0_4_wid.add(gdstk.Reference(boolean_04932b49, (0,0)))

compass_d4646f12 = lib.new_cell('compass_d4646f12')
R(compass_d4646f12, L2_222, [(-1.25,-1.25,1.25,1.25)])

rectangle_d4646f12 = lib.new_cell('rectangle_d4646f12')
rectangle_d4646f12.add(gdstk.Reference(compass_d4646f12, (1.25,1.25)))

pass_fail_mk_b21c9740 = lib.new_cell('pass_fail_mk_b21c9740')
pass_fail_mk_b21c9740.add(gdstk.Reference(rectangle_d4646f12, (-0.9,-0.9)))
pass_fail_mk_b21c9740.add(gdstk.Label('VIAC.EN.3', (-0.65,-0.65), layer=11, texttype=222))

boolean_836d6e85 = lib.new_cell('boolean_836d6e85')
P(boolean_836d6e85, L41_0, [(0.8,0.8),(0.315,0.8),(-0.1,0.385),(-0.1,-0.1),(0.8,-0.1)])

enclose_45deg_enc0_1_wid = lib.new_cell('enclose_45deg_enc0.1_width0.7_layer_VIAC_enc_layerM1')
enclose_45deg_enc0_1_wid.add(gdstk.Reference(boolean_18af2746, (0,0)))
enclose_45deg_enc0_1_wid.add(gdstk.Reference(boolean_836d6e85, (0,0)))

pass_fail_mk_bfe28fca = lib.new_cell('pass_fail_mk_bfe28fca')
pass_fail_mk_bfe28fca.add(gdstk.Reference(rectangle_35335814, (-0.6,-0.6)))
pass_fail_mk_bfe28fca.add(gdstk.Label('VIAC.EN.3', (-0.35,-0.35), layer=11, texttype=222))

boolean_834c05d4 = lib.new_cell('boolean_834c05d4')
P(boolean_834c05d4, L41_0, [(0.9,0.9),(-0.085,0.9),(-0.2,0.785),(-0.2,-0.2),(0.9,-0.2)])

enclose_cor2edge_enc0_2_ = lib.new_cell('enclose_cor2edge_enc0.2_width0.7_layer_VIAC_enc_layerM1')
enclose_cor2edge_enc0_2_.add(gdstk.Reference(rectangle_layerviac_size, (0,0)))
enclose_cor2edge_enc0_2_.add(gdstk.Reference(boolean_834c05d4, (0,0)))

pass_fail_mk_4879b9be = lib.new_cell('pass_fail_mk_4879b9be')
pass_fail_mk_4879b9be.add(gdstk.Reference(rectangle_4d9544ad, (-0.7,-0.7)))
pass_fail_mk_4879b9be.add(gdstk.Label('VIAC.EN.3', (-0.45,-0.45), layer=11, texttype=222))

boolean_db17fe55 = lib.new_cell('boolean_db17fe55')
P(boolean_db17fe55, L41_0, [(0.89,0.89),(-0.08,0.89),(-0.19,0.78),(-0.19,-0.19),(0.89,-0.19)])

enclose_cor2edge_enc0_19 = lib.new_cell('enclose_cor2edge_enc0.19_width0.7_layer_VIAC_enc_layerM1')
enclose_cor2edge_enc0_19.add(gdstk.Reference(rectangle_layerviac_size, (0,0)))
enclose_cor2edge_enc0_19.add(gdstk.Reference(boolean_db17fe55, (0,0)))

compass_09d3e0af = lib.new_cell('compass_09d3e0af')
R(compass_09d3e0af, L3_222, [(-1.04,-1.04,1.04,1.04)])

rectangle_09d3e0af = lib.new_cell('rectangle_09d3e0af')
rectangle_09d3e0af.add(gdstk.Reference(compass_09d3e0af, (1.04,1.04)))

pass_fail_mk_814a4603 = lib.new_cell('pass_fail_mk_814a4603')
pass_fail_mk_814a4603.add(gdstk.Reference(rectangle_09d3e0af, (-0.69,-0.69)))
pass_fail_mk_814a4603.add(gdstk.Label('VIAC.EN.3', (-0.44,-0.44), layer=11, texttype=222))

compass_layerm1_size0p7_ = lib.new_cell('compass_layerM1_size0p7__1p1')
R(compass_layerm1_size0p7_, L41_0, [(-0.35,-0.55,0.35,0.55)])

c_rectangle_layerm1_size0p = lib.new_cell('rectangle_layerM1_size0p7__1p1')
c_rectangle_layerm1_size0p.add(gdstk.Reference(compass_layerm1_size0p7_, (0.35,0.55)))

enclose_touch_enc0_2_wid = lib.new_cell('enclose_touch_enc0.2_width0.7_layer_VIAC_enc_layerM1')
enclose_touch_enc0_2_wid.add(gdstk.Reference(rectangle_layerviac_size, (0,0)))
enclose_touch_enc0_2_wid.add(gdstk.Reference(c_rectangle_layerm1_size0p, (0,-0.2)))

compass_6bef56c6 = lib.new_cell('compass_6bef56c6')
R(compass_6bef56c6, L3_222, [(-0.85,-1.05,0.85,1.05)])

rectangle_6bef56c6 = lib.new_cell('rectangle_6bef56c6')
rectangle_6bef56c6.add(gdstk.Reference(compass_6bef56c6, (0.85,1.05)))

pass_fail_mk_70e3e258 = lib.new_cell('pass_fail_mk_70e3e258')
pass_fail_mk_70e3e258.add(gdstk.Reference(rectangle_6bef56c6, (-0.5,-0.7)))
pass_fail_mk_70e3e258.add(gdstk.Label('VIAC.EN.3', (-0.25,-0.45), layer=11, texttype=222))

boolean_caddbb86 = lib.new_cell('boolean_caddbb86')
P(boolean_caddbb86, L41_0, [(0.9,0.9),(-0.2,0.9),(-0.2,0.088),(0.088,0.088),(0.088,0.612),(0.612,0.612),(0.612,0.088),(0.088,0.088),(-0.2,0.088),(-0.2,-0.2),(0.9,-0.2)])

enclose_hole_enc0_2_widt = lib.new_cell('enclose_hole_enc0.2_width0.7_layer_VIAC_enc_layerM1')
enclose_hole_enc0_2_widt.add(gdstk.Reference(rectangle_layerviac_size, (0,0)))
enclose_hole_enc0_2_widt.add(gdstk.Reference(boolean_caddbb86, (0,0)))

compass_68271b65 = lib.new_cell('compass_68271b65')
R(compass_68271b65, L3_222, [(-1.05,-1.05,1.05,1.05)])

rectangle_68271b65 = lib.new_cell('rectangle_68271b65')
rectangle_68271b65.add(gdstk.Reference(compass_68271b65, (1.05,1.05)))

pass_fail_mk_7b1bd096 = lib.new_cell('pass_fail_mk_7b1bd096')
pass_fail_mk_7b1bd096.add(gdstk.Reference(rectangle_68271b65, (-0.7,-0.7)))
pass_fail_mk_7b1bd096.add(gdstk.Label('VIAC.EN.3', (-0.45,-0.45), layer=11, texttype=222))

enclose_intersect_enc0_2 = lib.new_cell('enclose_intersect_enc0.2_width0.7_layer_VIAC_enc_layerM1')
enclose_intersect_enc0_2.add(gdstk.Reference(rectangle_layerviac_size, (-0.55,0)))
enclose_intersect_enc0_2.add(gdstk.Reference(rectangle_layerm1_size1p, (-0.2,-0.2)))

compass_78b57009 = lib.new_cell('compass_78b57009')
R(compass_78b57009, L3_222, [(-1.225,-1.05,1.225,1.05)])

rectangle_78b57009 = lib.new_cell('rectangle_78b57009')
rectangle_78b57009.add(gdstk.Reference(compass_78b57009, (1.225,1.05)))

pass_fail_mk_5baa48c9 = lib.new_cell('pass_fail_mk_5baa48c9')
pass_fail_mk_5baa48c9.add(gdstk.Reference(rectangle_78b57009, (-1.05,-0.7)))
pass_fail_mk_5baa48c9.add(gdstk.Label('VIAC.EN.3', (-0.8,-0.45), layer=11, texttype=222))

c_enclose_patterns_enclosu_ = lib.new_cell('enclose_patterns_enclosure0.2_width0.7_layerVIAC_enc_layerM1')
c_enclose_patterns_enclosu_.add(gdstk.Reference(enclose_basic_enc0_2_wid, (0,0)))
c_enclose_patterns_enclosu_.add(gdstk.Reference(pass_fail_mk_eda5517f, (0,0)))
c_enclose_patterns_enclosu_.add(gdstk.Reference(c_enclose_basic_enc0_1_wid_, (-22,0)))
c_enclose_patterns_enclosu_.add(gdstk.Reference(pass_fail_mk_3ed23ae4, (-22,0)))
c_enclose_patterns_enclosu_.add(gdstk.Reference(enclose_45deg_enc0_4_wid, (22.3,0)))
c_enclose_patterns_enclosu_.add(gdstk.Reference(pass_fail_mk_b21c9740, (22.3,0)))
c_enclose_patterns_enclosu_.add(gdstk.Reference(enclose_45deg_enc0_1_wid, (-43.9,0)))
c_enclose_patterns_enclosu_.add(gdstk.Reference(pass_fail_mk_bfe28fca, (-43.9,0)))
c_enclose_patterns_enclosu_.add(gdstk.Reference(enclose_cor2edge_enc0_2_, (44.6,0)))
c_enclose_patterns_enclosu_.add(gdstk.Reference(pass_fail_mk_4879b9be, (44.6,0)))
c_enclose_patterns_enclosu_.add(gdstk.Reference(enclose_cor2edge_enc0_19, (-65.89,0)))
c_enclose_patterns_enclosu_.add(gdstk.Reference(pass_fail_mk_814a4603, (-65.89,0)))
c_enclose_patterns_enclosu_.add(gdstk.Reference(enclose_touch_enc0_2_wid, (-87.78,0)))
c_enclose_patterns_enclosu_.add(gdstk.Reference(pass_fail_mk_70e3e258, (-87.78,0)))
c_enclose_patterns_enclosu_.add(gdstk.Reference(enclose_hole_enc0_2_widt, (-109.68,0)))
c_enclose_patterns_enclosu_.add(gdstk.Reference(pass_fail_mk_7b1bd096, (-109.68,0)))
c_enclose_patterns_enclosu_.add(gdstk.Reference(enclose_intersect_enc0_2, (-131.78,0)))
c_enclose_patterns_enclosu_.add(gdstk.Reference(pass_fail_mk_5baa48c9, (-131.78,0)))

viac = lib.new_cell('VIAC')
viac.add(gdstk.Reference(size_patterns_width0_7_l, (0,0)))
viac.add(gdstk.Reference(space_patterns_width0_7_, (13.66,22.95)))
viac.add(gdstk.Reference(enclose_patterns_enclosu, (32.72,46.1)))
viac.add(gdstk.Reference(c_enclose_patterns_enclosu, (32.72,68.2)))
viac.add(gdstk.Reference(c_enclose_patterns_enclosu_, (32.92,90.5)))

lib.write_gds('VIAC.gds')
